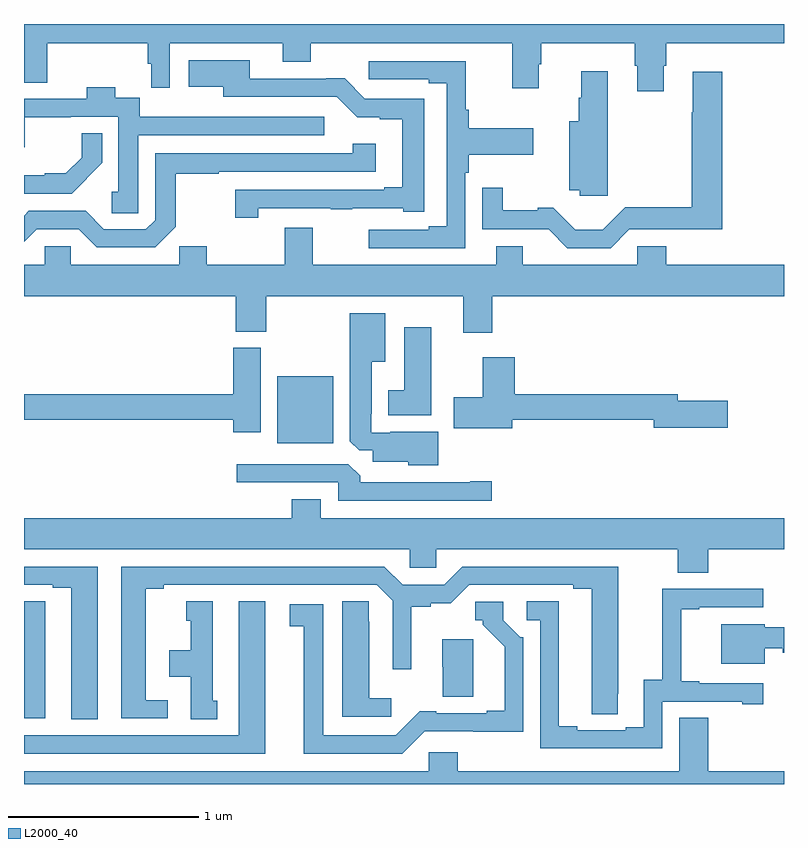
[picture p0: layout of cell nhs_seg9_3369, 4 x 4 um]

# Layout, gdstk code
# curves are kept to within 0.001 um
import gdstk
lib = gdstk.Library(unit=1e-6, precision=1e-09)
def R(c, l, rs):  # rectangles x0, y0, x1, y1
    for r in rs: c.add(gdstk.rectangle(r[:2], r[2:], *l))
def P(c, l, *ps):  # polygons
    for p in ps: c.add(gdstk.Polygon(p, *l))
L2000_40 = (2000, 40)

nhs_seg9_3369 = lib.new_cell('nhs_seg9_3369')
R(nhs_seg9_3369, L2000_40, [(304.334,1214.294,304.627,1214.647)])
P(nhs_seg9_3369, L2000_40, [(306.367,1216.281),(306.38,1216.281),(306.38,1216.4),(307,1216.4),(307,1216.5),(303,1216.5),(303,1216.192),(303.122,1216.192),(303.122,1216.4),(303.652,1216.4),(303.652,1216.29),(303.671,1216.29),(303.671,1216.164),(303.768,1216.164),(303.768,1216.4),(304.361,1216.4),(304.361,1216.301),(304.509,1216.301),(304.509,1216.4),(305.57,1216.4),(305.57,1216.161),(305.71,1216.161),(305.71,1216.289),(305.723,1216.289),(305.723,1216.4),(306.215,1216.4),(306.215,1216.281),(306.227,1216.281),(306.227,1216.146),(306.367,1216.146)],
  [(304.233,1215.531),(304.615,1215.531),(304.615,1215.526),(304.727,1215.526),(304.727,1215.531),(304.995,1215.531),(304.995,1215.513),(305.107,1215.513),(305.107,1216.107),(304.794,1216.107),(304.688,1216.214),(304.592,1216.214),(304.592,1216.212),(304.189,1216.212),(304.189,1216.309),(303.867,1216.309),(303.867,1216.169),(304.049,1216.169),(304.049,1216.116),(304.647,1216.116),(304.753,1216.01),(304.872,1216.01),(304.872,1215.999),(304.991,1215.999),(304.991,1215.64),(304.895,1215.64),(304.895,1215.627),(304.113,1215.627),(304.113,1215.48),(304.233,1215.48)],
  [(305.322,1215.716),(305.342,1215.716),(305.342,1215.812),(305.68,1215.812),(305.68,1215.952),(305.342,1215.952),(305.342,1216.048),(305.325,1216.048),(305.325,1216.305),(304.815,1216.305),(304.815,1216.209),(305.129,1216.209),(305.129,1216.189),(305.226,1216.189),(305.226,1215.435),(305.129,1215.435),(305.129,1215.417),(304.815,1215.417),(304.815,1215.321),(305.322,1215.321)],
  [(306.073,1216.252),(305.933,1216.252),(305.933,1216.112),(305.921,1216.112),(305.921,1215.988),(305.87,1215.988),(305.87,1215.626),(305.926,1215.626),(305.926,1215.596),(306.073,1215.596)],
  [(306.186,1215.42),(306.674,1215.419),(306.674,1216.249),(306.521,1216.249),(306.521,1216.036),(306.514,1216.036),(306.514,1215.536),(306.164,1215.536),(306.046,1215.418),(305.901,1215.418),(305.786,1215.533),(305.705,1215.533),(305.705,1215.521),(305.521,1215.521),(305.521,1215.637),(305.412,1215.637),(305.412,1215.419),(305.762,1215.419),(305.859,1215.321),(306.087,1215.321)],
  [(303.6,1215.613),(303.601,1215.613),(303.601,1215.915),(304.579,1215.915),(304.579,1216.011),(303.879,1216.011),(303.879,1216.012),(303.61,1216.012),(303.61,1216.111),(303.481,1216.111),(303.481,1216.168),(303.329,1216.168),(303.329,1216.107),(303,1216.107),(303,1215.852),(303.003,1215.852),(303.003,1216.01),(303.245,1216.01),(303.245,1216.011),(303.497,1216.011),(303.497,1215.616),(303.462,1215.616),(303.462,1215.505),(303.6,1215.505)],
  [(303.329,1215.685),(303.328,1215.686),(303.412,1215.769),(303.412,1215.926),(303.303,1215.926),(303.303,1215.797),(303.219,1215.714),(303.11,1215.714),(303.11,1215.703),(303,1215.703),(303,1215.606),(303.25,1215.606)],
  [(303.799,1215.433),(303.799,1215.711),(304.025,1215.711),(304.025,1215.723),(304.852,1215.723),(304.852,1215.871),(304.731,1215.871),(304.731,1215.819),(303.69,1215.819),(303.69,1215.468),(303.642,1215.42),(303.42,1215.42),(303.324,1215.516),(303.024,1215.516),(303,1215.492),(303,1215.354),(303.066,1215.42),(303.288,1215.42),(303.384,1215.324),(303.69,1215.324)],
  [(305.465,1215.068),(307,1215.068),(307,1215.232),(306.38,1215.232),(306.38,1215.33),(306.228,1215.33),(306.228,1215.232),(305.626,1215.232),(305.626,1215.331),(305.486,1215.331),(305.486,1215.232),(304.519,1215.232),(304.519,1215.427),(304.372,1215.427),(304.372,1215.232),(303.963,1215.232),(303.963,1215.33),(303.817,1215.33),(303.817,1215.232),(303.246,1215.232),(303.246,1215.33),(303.108,1215.33),(303.108,1215.232),(303,1215.232),(303,1215.068),(304.115,1215.068),(304.115,1214.881),(304.275,1214.881),(304.275,1215.068),(305.312,1215.068),(305.312,1214.874),(305.465,1214.874)],
  [(305.179,1214.353),(304.927,1214.353),(304.927,1214.349),(304.827,1214.349),(304.827,1214.449),(304.831,1214.449),(304.831,1214.723),(304.9,1214.723),(304.9,1214.977),(304.715,1214.977),(304.715,1214.305),(304.764,1214.256),(304.835,1214.256),(304.835,1214.195),(305.022,1214.195),(305.022,1214.177),(305.179,1214.177)],
  [(305.143,1214.905),(305,1214.905),(305,1214.572),(304.916,1214.572),(304.916,1214.441),(305.143,1214.441)],
  [(304.246,1214.796),(304.1,1214.796),(304.1,1214.552),(303,1214.552),(303,1214.416),(304.1,1214.416),(304.1,1214.352),(304.246,1214.352)],
  [(305.569,1214.416),(306.314,1214.416),(306.314,1214.374),(306.703,1214.374),(306.703,1214.516),(306.442,1214.516),(306.442,1214.552),(305.582,1214.552),(305.582,1214.746),(305.414,1214.746),(305.414,1214.535),(305.262,1214.535),(305.262,1214.372),(305.569,1214.372)],
  [(305.461,1214.093),(305.348,1214.093),(305.348,1214.088),(304.769,1214.088),(304.769,1214.122),(304.707,1214.184),(304.119,1214.184),(304.119,1214.088),(304.653,1214.088),(304.653,1213.992),(305.461,1213.992)],
  [(304.561,1213.999),(304.409,1213.999),(304.409,1213.9),(303,1213.9),(303,1213.736),(305.031,1213.736),(305.031,1213.638),(305.169,1213.638),(305.169,1213.736),(306.442,1213.736),(306.442,1213.612),(306.602,1213.612),(306.602,1213.736),(307,1213.736),(307,1213.9),(304.561,1213.9)],
  [(303.388,1213.644),(303,1213.644),(303,1213.548),(303.152,1213.548),(303.152,1213.533),(303.248,1213.533),(303.248,1212.841),(303.388,1212.841)],
  [(303.757,1212.942),(303.64,1212.942),(303.64,1213.528),(303.736,1213.528),(303.736,1213.548),(304.857,1213.548),(304.941,1213.464),(304.941,1213.104),(305.038,1213.104),(305.038,1213.432),(305.142,1213.432),(305.142,1213.451),(305.246,1213.451),(305.343,1213.548),(305.891,1213.548),(305.891,1213.528),(305.987,1213.528),(305.987,1212.868),(306.126,1212.868),(306.127,1213.644),(305.307,1213.644),(305.211,1213.548),(304.993,1213.548),(304.897,1213.644),(303.512,1213.644),(303.512,1212.846),(303.757,1212.846)],
  [(306.36,1212.933),(306.779,1212.933),(306.779,1212.921),(306.892,1212.921),(306.892,1213.029),(306.553,1213.029),(306.553,1213.042),(306.458,1213.042),(306.458,1213.419),(306.553,1213.419),(306.553,1213.431),(306.892,1213.431),(306.892,1213.527),(306.358,1213.527),(306.358,1213.049),(306.263,1213.049),(306.263,1212.798),(306.167,1212.798),(306.167,1212.783),(305.911,1212.783),(305.911,1212.803),(305.815,1212.803),(305.815,1213.463),(305.646,1213.463),(305.646,1213.362),(305.718,1213.362),(305.718,1212.687),(306.36,1212.687)],
  [(304.933,1212.952),(304.816,1212.952),(304.816,1213.355),(304.815,1213.355),(304.815,1213.463),(304.676,1213.463),(304.676,1212.855),(304.933,1212.855)],
  [(303.112,1213.355),(303.111,1213.355),(303.111,1213.463),(303,1213.463),(303,1212.845),(303.112,1212.845)],
  [(304.27,1213.462),(304.13,1213.462),(304.13,1212.756),(303,1212.756),(303,1212.66),(304.27,1212.66)],
  [(304.018,1212.939),(303.994,1212.939),(303.994,1213.462),(303.854,1213.462),(303.854,1213.359),(303.878,1213.359),(303.878,1213.204),(303.764,1213.204),(303.764,1213.064),(303.878,1213.064),(303.878,1212.841),(304.018,1212.841)],
  [(305.109,1212.777),(305.628,1212.776),(305.628,1213.272),(305.613,1213.272),(305.523,1213.362),(305.523,1213.458),(305.376,1213.458),(305.376,1213.362),(305.415,1213.362),(305.415,1213.339),(305.531,1213.222),(305.531,1212.886),(305.435,1212.886),(305.435,1212.873),(305.17,1212.873),(305.17,1212.884),(305.084,1212.884),(304.956,1212.756),(304.576,1212.756),(304.576,1213.446),(304.398,1213.446),(304.398,1213.33),(304.472,1213.33),(304.472,1212.66),(304.992,1212.66)],
  [(306.898,1213.214),(306.994,1213.214),(306.994,1213.19),(307,1213.19),(307,1213.324),(306.898,1213.324),(306.898,1213.342),(306.671,1213.342),(306.671,1213.133),(306.898,1213.133)],
  [(305.365,1213.261),(305.201,1213.261),(305.201,1213.116),(305.203,1213.116),(305.203,1212.958),(305.365,1212.958)],
  [(307,1212.568),(306.602,1212.568),(306.602,1212.848),(306.449,1212.848),(306.449,1212.568),(305.282,1212.568),(305.282,1212.666),(305.13,1212.666),(305.13,1212.568),(303,1212.568),(303,1212.5),(307,1212.5)])

lib.write_gds('nhs_seg9_3369.gds')
